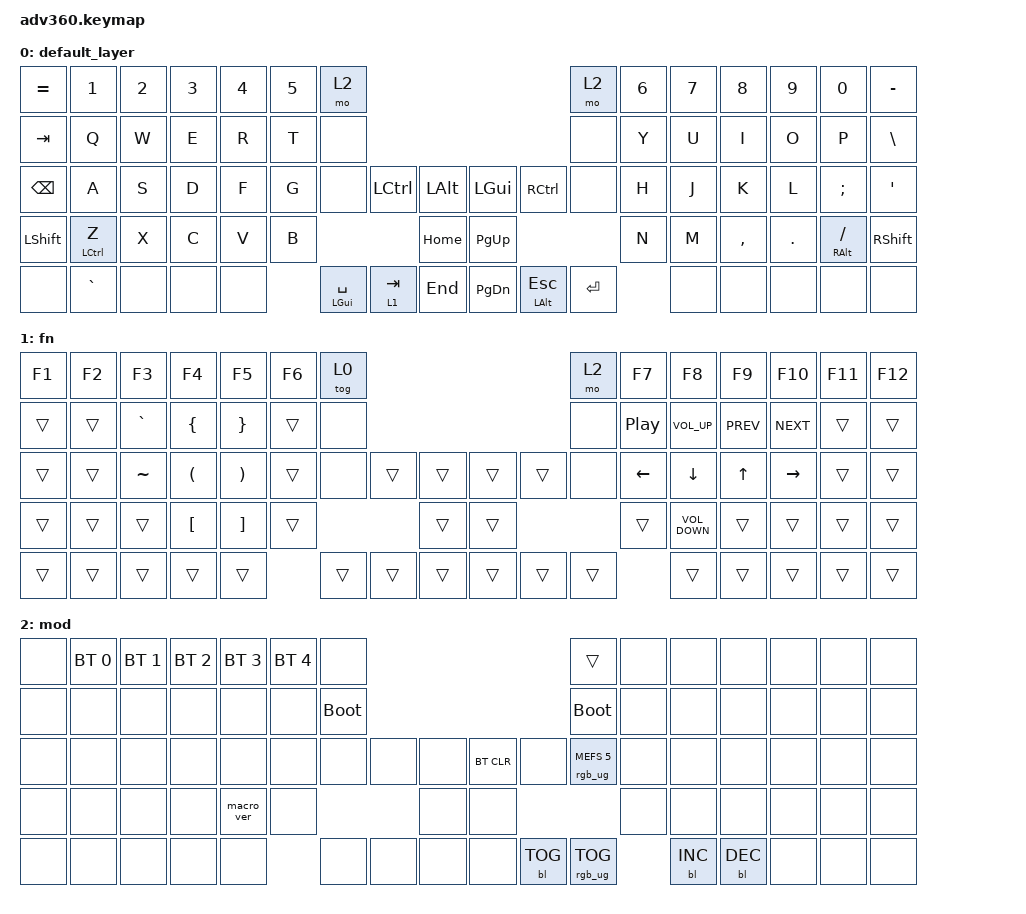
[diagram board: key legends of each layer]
#include <behaviors.dtsi>
#include <dt-bindings/zmk/backlight.h>
#include <dt-bindings/zmk/bt.h>
#include <dt-bindings/zmk/keys.h>
#include <dt-bindings/zmk/rgb.h>

&mt {
    tapping-term-ms = <225>;
    quick-tap-ms = <200>;
    flavor = "tap-preferred";
};

/ {
    behaviors {
        #include "macros.dtsi"
      #include "version.dtsi"
      #ifndef VERSION_MACRO

        macro_ver: macro_ver {
            compatible = "zmk,behavior-macro";
            label = "macro_version";
            #binding-cells = <0>;
            bindings = <&kp RET>;
        };

        #endif

        hm: homerow_mods {
            compatible = "zmk,behavior-hold-tap";
            label = "HOMEROW_MODS";
            #binding-cells = <2>;
            tapping-term-ms = <200>;
            quick_tap_ms = <175>;
            flavor = "tap-preferred";
            bindings = <&kp>, <&kp>;
        };
    };

    macros {
    };

    keymap {
        compatible = "zmk,keymap";

        default_layer {
            bindings = <
&kp EQUAL      &kp N1       &kp N2  &kp N3  &kp N4  &kp N5  &mo 2                                                             &mo 2      &kp N6  &kp N7  &kp N8     &kp N9   &kp N0               &kp MINUS
&kp TAB        &kp Q        &kp W   &kp E   &kp R   &kp T   &none                                                             &none      &kp Y   &kp U   &kp I      &kp O    &kp P                &kp BSLH
&kp BACKSPACE  &kp A        &kp S   &kp D   &kp F   &kp G   &none           &kp LCTRL  &kp LALT      &kp LGUI   &kp RCTRL     &none      &kp H   &kp J   &kp K      &kp L    &kp SEMI             &kp SQT
&kp LSHFT      &mt LCTRL Z  &kp X   &kp C   &kp V   &kp B                              &kp HOME      &kp PG_UP                           &kp N   &kp M   &kp COMMA  &kp DOT  &mt RIGHT_ALT SLASH  &kp RSHFT
&none          &kp GRAVE    &none   &none   &none           &mt LGUI SPACE  &lt 1 TAB  &kp END       &kp PG_DN  &mt LALT ESC  &kp ENTER          &none   &none      &none    &none                &none
            >;
        };

        fn {
            bindings = <
&kp F1  &kp F2  &kp F3     &kp F4                &kp F5                 &kp F6  &tog 0                                      &mo 2   &kp F7            &kp F8             &kp F9      &kp F10     &kp F11  &kp F12
&trans  &trans  &kp GRAVE  &kp LEFT_BRACE        &kp RIGHT_BRACE        &trans  &none                                       &none   &kp C_PLAY_PAUSE  &kp C_VOLUME_UP    &kp C_PREV  &kp C_NEXT  &trans   &trans
&trans  &trans  &kp TILDE  &kp LEFT_PARENTHESIS  &kp RIGHT_PARENTHESIS  &trans  &none   &trans  &trans      &trans  &trans  &none   &kp LEFT          &kp DOWN           &kp UP      &kp RIGHT   &trans   &trans
&trans  &trans  &trans     &kp LEFT_BRACKET      &kp RIGHT_BRACKET      &trans                  &trans      &trans                  &trans            &kp C_VOLUME_DOWN  &trans      &trans      &trans   &trans
&trans  &trans  &trans     &trans                &trans                         &trans  &trans  &trans      &trans  &trans  &trans                    &trans             &trans      &trans      &trans   &trans
            >;
        };

        mod {
            bindings = <
&none  &bt BT_SEL 0  &bt BT_SEL 1  &bt BT_SEL 2  &bt BT_SEL 3  &bt BT_SEL 4  &none                                                  &trans                  &none  &none       &none       &none  &none  &none
&none  &none         &none         &none         &none         &none         &bootloader                                            &bootloader             &none  &none       &none       &none  &none  &none
&none  &none         &none         &none         &none         &none         &none        &none  &none      &bt BT_CLR  &none       &rgb_ug RGB_MEFS_CMD 5  &none  &none       &none       &none  &none  &none
&none  &none         &none         &none         &macro_ver    &none                             &none      &none                                           &none  &none       &none       &none  &none  &none
&none  &none         &none         &none         &none                       &none        &none  &none      &none       &bl BL_TOG  &rgb_ug RGB_TOG                &bl BL_INC  &bl BL_DEC  &none  &none  &none
            >;
        };
    };
};
